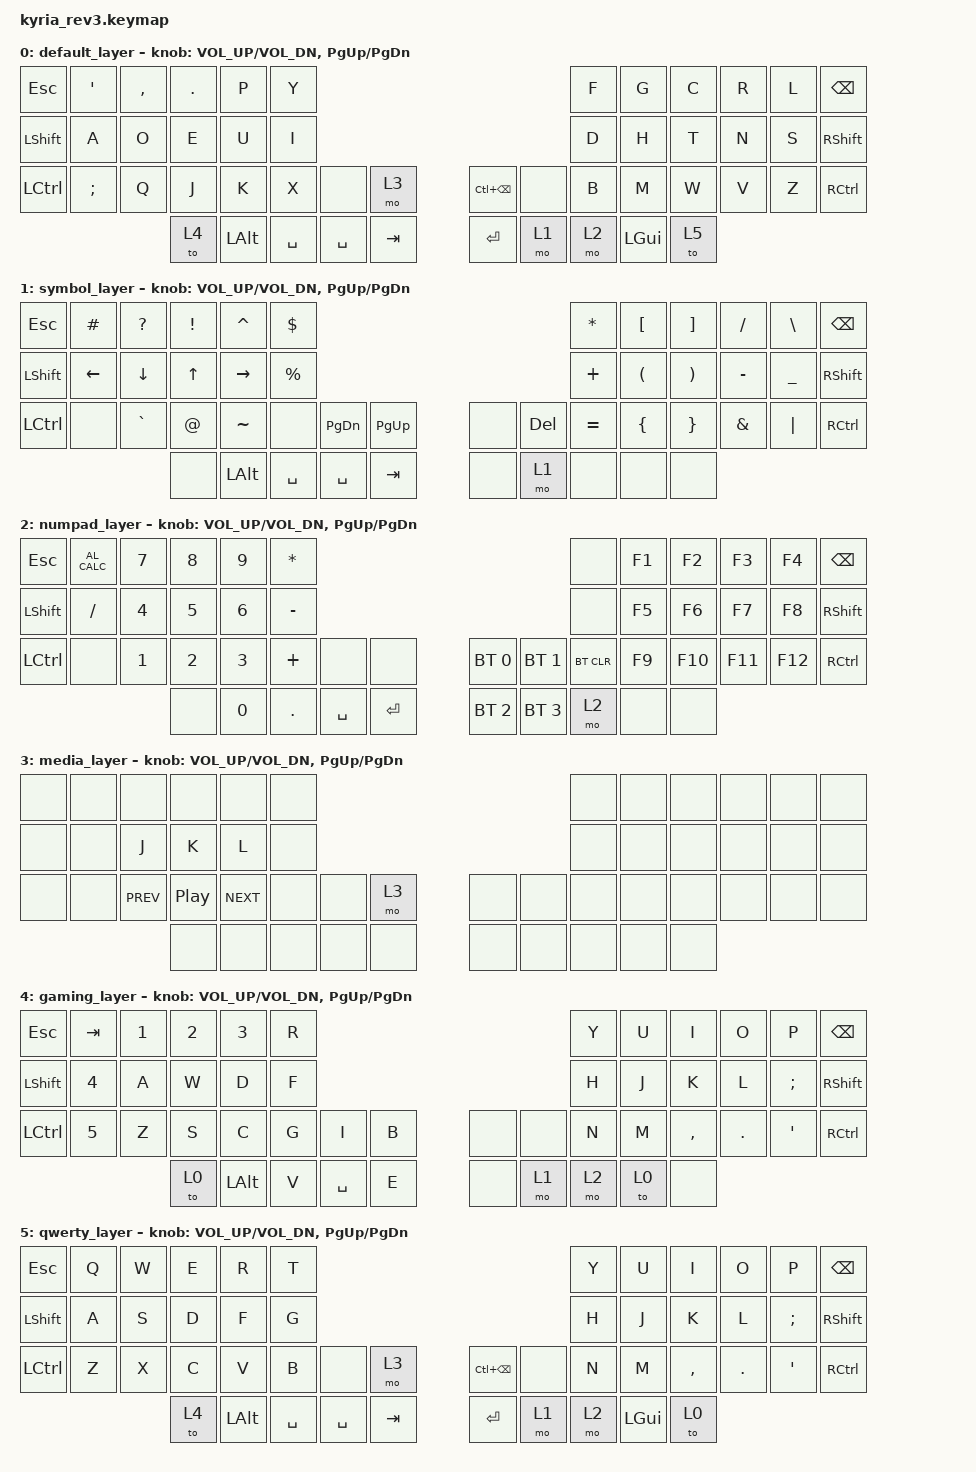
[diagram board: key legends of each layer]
#include <behaviors.dtsi>
#include <dt-bindings/zmk/bt.h>
#include <dt-bindings/zmk/keys.h>

/ {
    keymap {
        compatible = "zmk,keymap";

        default_layer {
        bindings = <
        //-------------------------------------------------------------                                                  -------------------------------------------------------------
        //|   ESC   |    '    |    ,    |    .    |    P    |    Y    |                                                  |    F    |    G    |    C    |    R    |    L    |  BSPC   |
        //|         |         |         |         |         |         |                                                  |         |         |         |         |         |         |
          &kp ESC   &kp SQT   &kp COMMA  &kp DOT   &kp P     &kp Y                                                        &kp F     &kp G     &kp C     &kp R     &kp L     &kp BSPC
        //|---------|---------|---------|---------|---------|---------|                                                  |---------|---------|---------|---------|---------|---------|
        //|  LSHFT  |    A    |    O    |    E    |    U    |    I    |                                                  |    D    |    H    |    T    |    N    |    S    |  RSHFT  |
        //|         |         |         |         |         |         |                                                  |         |         |         |         |         |         |
          &kp LSHFT  &kp A     &kp O     &kp E     &kp U     &kp I                                                        &kp D     &kp H     &kp T     &kp N     &kp S     &kp RSHFT
        //|---------|---------|---------|---------|---------|---------|--------------------          --------------------|---------|---------|---------|---------|---------|---------|
        //|  LCTRL  |    ;    |    Q    |    J    |    K    |    X    |         |  MEDIA  |          |  DELETE |         |    B    |    M    |    W    |    V    |    Z    |  RCTRL  |
        //|         |         |         |         |         |         |         |         |          |   WORD  |         |         |         |         |         |         |         |
          &kp LCTRL &kp SEMI   &kp Q     &kp J     &kp K     &kp X     &none     &mo 3               &kp LC(BSPC) &none   &kp B     &kp M     &kp W     &kp V     &kp Z     &kp RCTRL
        //------------------------------|---------|---------|---------|---------|---------|          |---------|---------|---------|---------|---------|------------------------------
        //                              |  GAMING |  LALT   |  SPACE  |  SPACE  |   TAB   |          |   RET   | SYMBOL  | NUMPAD  | WINDOWS |  QWERTY |
        //                              |         |         |         |         |         |          |         |         |         |         |         |
                                        &to 4    &kp LALT  &kp SPACE &kp SPACE  &kp TAB               &kp RET   &mo 1     &mo 2     &kp LGUI  &to 5
        //                              ---------------------------------------------------          ---------------------------------------------------
            >;

            sensor-bindings = <&inc_dec_kp C_VOL_UP C_VOL_DN &inc_dec_kp PG_UP PG_DN>;
        };
        symbol_layer {
        bindings = <
        //-------------------------------------------------------------                                                  -------------------------------------------------------------
        //|   ESC   |   HASH  |    ?    |    !    |    ^    |    $    |                                                  |    *    |    [    |    ]    |    /    |    \    |  BSPC   |
        //|         |         |         |         |         |         |                                                  |         |         |         |         |         |         |
          &kp ESC   &kp HASH  &kp QMARK  &kp EXCL  &kp CARET &kp DLLR                                                    &kp STAR  &kp LBKT  &kp RBKT  &kp FSLH  &kp BSLH  &kp BSPC
        //|---------|---------|---------|---------|---------|---------|                                                  |---------|---------|---------|---------|---------|---------|
        //|  LSHFT  |   LEFT  |   DOWN  |   UP    |   RIGHT |    %    |                                                  |    +    |    (    |    )    |    -    |    _    |  RSHFT  |
        //|         |         |         |         |         |         |                                                  |         |         |         |         |         |         |
          &kp LSHFT &kp LEFT  &kp DOWN  &kp UP    &kp RIGHT &kp PRCNT                                                    &kp PLUS  &kp LPAR  &kp RPAR  &kp MINUS &kp UNDER &kp RSHFT
        //|---------|---------|---------|---------|---------|---------|--------------------          --------------------|---------|---------|---------|---------|---------|---------|
        //|  LCTRL  |         |    `    |    @    |    ~    |         | PG_DN   |  PG_UP  |          |         |   DEL   |    =    |    {    |    }    |    &    |    |    |  RCTRL  |
        //|         |         |         |         |         |         |         |         |          |         |         |         |         |         |         |         |         |
          &kp LCTRL &none      &kp GRAVE &kp AT    &kp TILDE &none    &kp PG_DN &kp  PG_UP           &none     &kp DEL   &kp EQUAL &kp LBRC  &kp RBRC  &kp AMPS  &kp PIPE  &kp RCTRL
        //------------------------------|---------|---------|---------|---------|---------|          |---------|---------|---------|---------|---------|------------------------------
        //                              |         |  LALT   |  SPACE  |  SPACE  |   TAB   |          |         | SYMBOL  |         |         |         |
        //                              |         |         |         |         |         |          |         |         |         |         |         |
                                        &none     &kp LALT  &kp SPACE &kp SPACE  &kp TAB             &none     &mo 1     &none     &none     &none
        //                              ---------------------------------------------------          ---------------------------------------------------
            >;

            sensor-bindings = <&inc_dec_kp C_VOL_UP C_VOL_DN &inc_dec_kp PG_UP PG_DN>;
        };
        numpad_layer {
        bindings = <
        //-------------------------------------------------------------                                                  -------------------------------------------------------------
        //|   ESC   |   CALC  |    7    |    8    |    9    |    *    |                                                  |         |   F1    |   F2    |   F3    |   F4    |  BSPC   |
        //|         |         |         |         |         |         |                                                  |         |         |         |         |         |         |
        &kp ESC &kp C_AL_CALC &kp N7    &kp N8    &kp N9    &kp STAR                                                     &none     &kp F1    &kp F2    &kp F3    &kp F4    &kp BSPC    
        //|---------|---------|---------|---------|---------|---------|                                                  |---------|---------|---------|---------|---------|---------|
        //|  LSHFT  |    /    |    4    |    5    |    6    |    -    |                                                  |         |   F5    |   F6    |   F7    |   F8    |  RSHFT  |
        //|         |         |         |         |         |         |                                                  |         |         |         |         |         |         |
        &kp LSHFT &kp FSLH    &kp N4    &kp N5    &kp N6    &kp MINUS                                                    &none     &kp F5    &kp F6    &kp F7    &kp F8    &kp RSHFT
        //|---------|---------|---------|---------|---------|---------|--------------------          --------------------|---------|---------|---------|---------|---------|---------|
        //|  LCTRL  |         |    1    |    2    |    3    |    +    |         |         |          | BT_SEL0 | BT_SEL1 | BT_CLR  |   F9    |   F10   |   F11   |   F12   |  RCTRL  |
        //|         |         |         |         |         |         |         |         |          |         |         |         |         |         |         |         |         |
          &kp LCTRL &none     &kp N1    &kp N2    &kp N3    &kp PLUS  &none     &none         &bt BT_SEL 0 &bt BT_SEL 1 &bt BT_CLR &kp F9    &kp F10   &kp F11   &kp F12   &kp RCTRL
        //------------------------------|---------|---------|---------|---------|---------|          |---------|---------|---------|---------|---------|------------------------------
        //                              |         |    0    |    .    |  SPACE  |   RET   |          | BT_SEL2 | BT_SEL3 | NUMPAD  |         |         |
        //                              |         |         |         |         |         |          |         |         |         |         |         |
                                        &none    &kp N0    &kp DOT   &kp SPACE  &kp RET            &bt BT_SEL 2 &bt BT_SEL 3 &mo 2  &none     &none
        //                              ---------------------------------------------------          ---------------------------------------------------
            >;

            sensor-bindings = <&inc_dec_kp C_VOL_UP C_VOL_DN &inc_dec_kp PG_UP PG_DN>;
        };

        media_layer {
        bindings = <
        //-------------------------------------------------------------                                                  -------------------------------------------------------------
        //|         |         |         |         |         |         |                                                  |         |         |         |         |         |         |
        //|         |         |         |         |         |         |                                                  |         |         |         |         |         |         |
          &none     &none     &none     &none     &none     &none                                                        &none     &none     &none     &none     &none     &none   
        //|---------|---------|---------|---------|---------|---------|                                                  |---------|---------|---------|---------|---------|---------|
        //|         |         |    J    |    K    |    L    |         |                                                  |         |         |         |         |         |         |
        //|         |         |         |         |         |         |                                                  |         |         |         |         |         |         |
          &none     &none     &kp J     &kp K     &kp L     &none                                                        &none     &none     &none     &none     &none     &none    
        //|---------|---------|---------|---------|---------|---------|--------------------          --------------------|---------|---------|---------|---------|---------|---------|
        //|         |         |   PREV  |   PLAY  |   NEXT  |         |         |         |          |         |         |         |         |         |         |         |         |
        //|         |         |         |         |         |         |         |         |          |         |         |         |         |         |         |         |         |
          &none     &none   &kp C_PREV &kp C_PP  &kp C_NEXT &none     &none     &mo 3                &none     &none     &none     &none     &none     &none     &none     &none    
        //------------------------------|---------|---------|---------|---------|---------|          |---------|---------|---------|---------|---------|------------------------------
        //                              |         |         |         |         |         |          |         |         |         |         |         |
        //                              |         |         |         |         |         |          |         |         |         |         |         |
                                        &none     &none     &none     &none     &none                &none     &none     &none     &none     &none
        //                              ---------------------------------------------------          ---------------------------------------------------
            >;

            sensor-bindings = <&inc_dec_kp C_VOL_UP C_VOL_DN &inc_dec_kp PG_UP PG_DN>;
        };

        gaming_layer {
        bindings = <
        //-------------------------------------------------------------                                                  -------------------------------------------------------------
        //|   ESC   |   TAB   |    1    |    2    |    3    |    R    |                                                  |    Y    |    U    |    I    |    O    |    P    |  BSPC   |
        //|         |         |         |         |         |         |                                                  |         |         |         |         |         |         |
          &kp ESC   &kp TAB    &kp N1    &kp N2    &kp N3    &kp R                                                        &kp Y     &kp U     &kp I     &kp O     &kp P     &kp BSPC
        //|---------|---------|---------|---------|---------|---------|                                                  |---------|---------|---------|---------|---------|---------|
        //|  LSHFT  |    4    |    A    |    W    |    D    |    F    |                                                  |    H    |    J    |    K    |    L    |    ;    |  RSHFT  |
        //|         |         |         |         |         |         |                                                  |         |         |         |         |         |         |
          &kp LSHFT &kp N4     &kp A     &kp W     &kp D     &kp F                                                        &kp H     &kp J     &kp K     &kp L     &kp SEMI  &kp RSHFT
        //|---------|---------|---------|---------|---------|---------|--------------------          --------------------|---------|---------|---------|---------|---------|---------|
        //|  LCTRL  |    5    |    Z    |    S    |    C    |    G    |    I    |    B    |          |         |         |    N    |    M    |    ,    |    .    |    '    |  RCTRL  |
        //|         |         |         |         |         |         |         |         |          |         |         |         |         |         |         |         |         |
          &kp LCTRL &kp N5     &kp Z     &kp S     &kp C     &kp G     &kp I     &kp B                &none     &none     &kp N     &kp M     &kp COMMA &kp DOT   &kp SQT   &kp RCTRL
        //------------------------------|---------|---------|---------|---------|---------|          |---------|---------|---------|---------|---------|------------------------------
        //                              | DVORAK  |   LALT  |    V    |  SPACE  |    E    |          |         | SYMBOL  | NUMPAD  | DVORAK  |         |
        //                              |         |         |         |         |         |          |         |         |         |         |         |
                                        &to 0      &kp LALT  &kp V   &kp SPACE   &kp E                &none     &mo 1     &mo 2     &to 0     &none
        //                              ---------------------------------------------------          ---------------------------------------------------
            >;

            sensor-bindings = <&inc_dec_kp C_VOL_UP C_VOL_DN &inc_dec_kp PG_UP PG_DN>;
        };

        qwerty_layer {
        bindings = <
        //-------------------------------------------------------------                                                  -------------------------------------------------------------
        //|   ESC   |    Q    |    W    |    E    |    R    |    T    |                                                  |    Y    |    U    |    I    |    O    |    P    |  BSPC   |
        //|         |         |         |         |         |         |                                                  |         |         |         |         |         |         |
          &kp ESC    &kp Q     &kp W     &kp E     &kp R     &kp T                                                        &kp Y     &kp U     &kp I     &kp O     &kp P    &kp BSPC
        //|---------|---------|---------|---------|---------|---------|                                                  |---------|---------|---------|---------|---------|---------|
        //|  LSHFT  |    A    |    S    |    D    |    F    |    G    |                                                  |    H    |    J    |    K    |    L    |    ;    |  RSHFT  |
        //|         |         |         |         |         |         |                                                  |         |         |         |         |         |         |
          &kp LSHFT  &kp A     &kp S     &kp D     &kp F     &kp G                                                        &kp H     &kp J     &kp K     &kp L     &kp SEMI &kp RSHFT
        //|---------|---------|---------|---------|---------|---------|--------------------          --------------------|---------|---------|---------|---------|---------|---------|
        //|  LCTRL  |    Z    |    X    |    C    |    V    |    B    |         |  MEDIA  |          |   DW    |         |    N    |    M    |    ,    |    .    |    '    |  RCTRL  |
        //|         |         |         |         |         |         |         |         |          |         |         |         |         |         |         |         |         |
          &kp LCTRL  &kp Z     &kp X     &kp C     &kp V     &kp B     &none     &mo 3                &kp LC(BSPC) &none  &kp N     &kp M     &kp COMMA &kp DOT   &kp SQT  &kp RCTRL
        //------------------------------|---------|---------|---------|---------|---------|          |---------|---------|---------|---------|---------|------------------------------
        //                              |  GAMING |  LALT   |  SPACE  |  SPACE  |   TAB   |          |   RET   | SYMBOL  | NUMPAD  | WINDOWS | DVORAK  |
        //                              |         |         |         |         |         |          |         |         |         |         |         |
                                        &to 4     &kp LALT  &kp SPACE &kp SPACE &kp TAB              &kp RET   &mo 1     &mo 2     &kp LGUI  &to 0
        //                              ---------------------------------------------------          ---------------------------------------------------
            >;

            sensor-bindings = <&inc_dec_kp C_VOL_UP C_VOL_DN &inc_dec_kp PG_UP PG_DN>;
        };
    };
};
